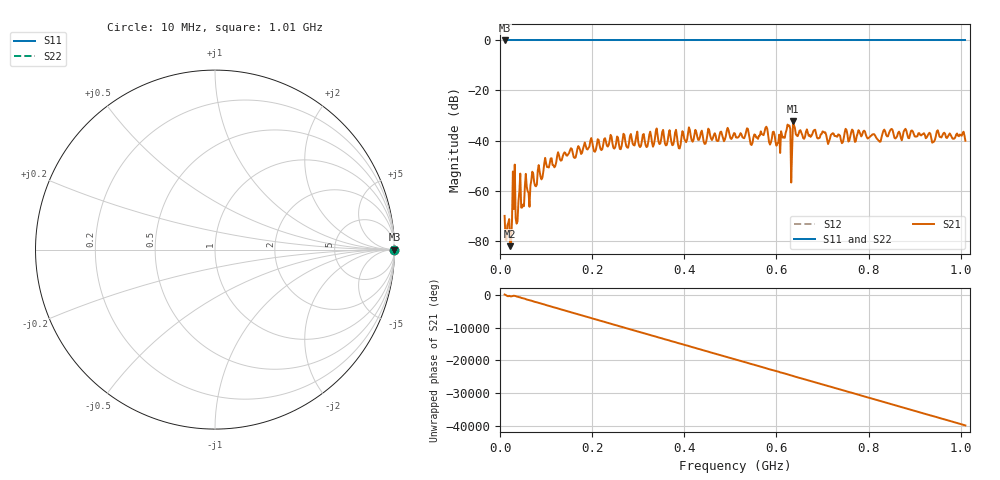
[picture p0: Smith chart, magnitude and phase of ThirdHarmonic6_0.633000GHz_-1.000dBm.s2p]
! 8/15/2025 8:54:30 PM
! C:\ANRITSUVNA\TEMP\TEMP.S2P
! CHANNEL.1
! TR.MEASUREMENT
! RAW.DATA
! RF.CORRECTION.OFF
! AVERAGING.OFF
! IF.BANDWIDTH: 5KHZ
! SWEEPTYPE:  FREQ.SWEEP(Linear)
! Reference Plane Port Info
! PORT:  PORT1  PORT2
! DISTANCE:  0  m  0  m
! TIME:  0  s  0  s
! PHASE.OFFSET:  0  deg.  0  deg.
! LOSS:  0  dB  0  dB
! REF.LOSS:  0  dB  0  dB
! REF.FREQ:  0  Hz  0  Hz
! Power Info
! POWER:  -20  dBm  -20  dBm
! EFF.POWER:  -20  dBm  -20  dBm
! SOURCE.ATTEN:  0  dB  0  dB
! TEST.ATTEN:  0  dB  0  dB
# GHZ S RI R 50.0
! FREQ.GHZ  S11RE  S11IM  S21RE  S21IM  S12RE  S12IM  S22RE  S22IM
!; PortSelection: Port_12
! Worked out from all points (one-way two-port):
!   501 points, 10 MHz to 1.01 GHz, reference 50 ohm
!   highest |S21| = -32.38 dB at 636 MHz (marker M1); lowest = -82.2 dB at 22 MHz (marker M2)
!   lowest |S11| = 0.0 dB at 10 MHz (marker M3)
!   |S11| at or under -10 dB: nowhere
!   |S22| runs from 0.0 to 0.0 dB; largest |S21 - S12| = 1
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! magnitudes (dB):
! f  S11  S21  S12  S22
! 10 MHz  0.0  -70.1  0.0  0.0
! 22 MHz  0.0  -82.2  0.0  0.0
! 30 MHz  0.0  -67.4  0.0  0.0
! 38 MHz  0.0  -72.3  0.0  0.0
! 44 MHz  0.0  -53.2  0.0  0.0
! 50 MHz  0.0  -65.6  0.0  0.0
! 58 MHz  0.0  -58.5  0.0  0.0
! 62 MHz  0.0  -60.9  0.0  0.0
! 100 MHz  0.0  -49.1  0.0  0.0
! 178 MHz  0.0  -45.0  0.0  0.0
! 344 MHz  0.0  -40.4  0.0  0.0
! 510 MHz  0.0  -37.3  0.0  0.0
! 546 MHz  0.0  -41.8  0.0  0.0
! 578 MHz  0.0  -34.5  0.0  0.0
! 604 MHz  0.0  -40.7  0.0  0.0
! 626 MHz  0.0  -34.3  0.0  0.0
! 630 MHz  0.0  -35.4  0.0  0.0
! 636 MHz  0.0  -32.4  0.0  0.0
! 640 MHz  0.0  -35.0  0.0  0.0
! 678 MHz  0.0  -37.3  0.0  0.0
! 844 MHz  0.0  -37.1  0.0  0.0
! 1.01 GHz  0.0  -40.1  0.0  0.0
